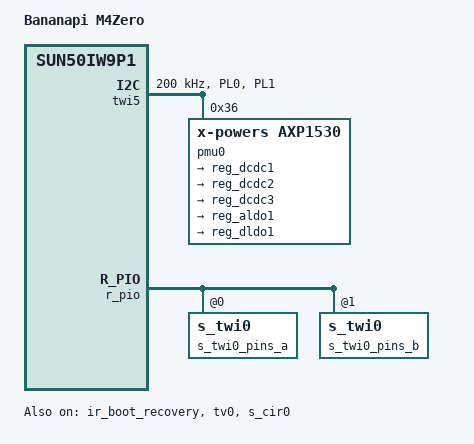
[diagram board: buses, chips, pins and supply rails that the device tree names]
/*
 * Allwinner Technology CO., Ltd. sun8iw19p1 soc board.
 *
 * soc board support.
 */

&power_sply {
	dcdc1_vol = <1000960>;
	dcdc2_vol = <1001150>;
	aldo1_vol = <1001800>;
	dldo1_vol = <1003300>;
};

/{
	model = "Bananapi M4Zero";
	compatible = "allwinner,h616", "arm,sun50iw9p1";

	box_start_os0 {
		compatible = "allwinner,box_start_os";
		start_type = <0x1>;
		irkey_used = <0x1>;
		pmukey_used = <0x0>;
		pmukey_num = <0x0>;
		led_power = <0x0>;
		led_state = <0x0>;
		pinctrl-0 = <&standby_red>;
		pinctrl-1 = <&standby_gpiokey>;
	};

	gpu: gpu@0x01800000 {
			gpu_idle = <1>;
			dvfs_status = <1>;
			operating-points = <
				 /* KHz   uV */
				600000 950000
				576000 950000
				540000 950000
				504000 950000
				456000 950000
				420000 950000
				384000 950000
				360000 950000
				336000 950000
				306000 950000
			 >;
	};
};

&boot_init_gpio {
	device_type = "boot_init_gpio";
	logical_start = <40960>;
	/* 0x2--C 0xC--12 0x1--open*/
	gpio0 = <0x54 0x2 0xc 0x1 0xffffffff 0xffffffff 0x0>;
};

&target {
    boot_clock = <1416>;
    advert_enable = <0>;
};

&aliases {
	disp = &disp;
	hdmi = &hdmi;
	tv0=&tv0;
	pmu0 = &pmu0;
	ir0 = &s_cir0;
	twi5 = &twi5;
};

&twi5 {
	no_suspend = <1>;
	clock-frequency = <200000>;
	pinctrl-0 = <&s_twi0_pins_a>;
	pinctrl-1 = <&s_twi0_pins_b>;
	device_type = "twi5";
	status = "okay";

	pmu0: pmu{
		compatible = "x-powers,axp1530";
		reg = <0x36>;
/*		interrupt-parent = <&nmi_intc>;
		interrupts = <0 IRQ_TYPE_LEVEL_LOW>;
		interrupt-controller;
		#interrupt-cells = <1>;*/

		wakeup-source;

		regulators{
			reg_dcdc1: dcdc1 {
				regulator-name = "axp1530-dcdc1";
			};

			reg_dcdc2: dcdc2 {
				regulator-name = "axp1530-dcdc2";
			};

			reg_dcdc3: dcdc3 {
				regulator-name = "axp1530-dcdc3";
			};

			reg_aldo1: ldo1 {
				regulator-name = "axp1530-aldo1";
			};

			reg_dldo1: ldo2 {
				regulator-name = "axp1530-dldo1";
			};
		};
	};
};

&r_pio{

	s_twi0_pins_a: s_twi0@0 {
		allwinner,pins = "PL0", "PL1";
		allwinner,pname = "s_twi0_scl", "s_twi0_sda";
		allwinner,function = "s_twi0";
		allwinner,muxsel = <3>;
		allwinner,drive = <1>;
		allwinner,pull = <1>;
	};

	s_twi0_pins_b: s_twi0@1 {
		allwinner,pins = "PL0", "PL1";
		allwinner,function = "io_disabled";
		allwinner,muxsel = <7>;
		allwinner,drive = <1>;
		allwinner,pull = <0>;
	};
};


&pio{
	s_cir0_pins_a: s_cir0@0 {
		allwinner,pins = "PH10";
		allwinner,function = "ir";
		allwinner,muxsel = <3>;
		allwinner,drive = <2>;
		allwinner,pull = <1>;
	};
	s_cir0_pins_b: s_cir0@1 {
		allwinner,pins = "PH10";
		allwinner,function = "gpio_in";
	};
	spi1_pins_a: spi1@0 {
		allwinner,pins = "PH6", "PH7", "PH8";
		allwinner,pname = "spi1_sclk", "spi1_mosi", "spi1_miso";
		allwinner,function = "spi1";
	};

	spi1_pins_b: spi1@1 {
		allwinner,pins = "PH5", "PH9";
		allwinner,pname = "spi1_cs0", "spi1_cs1";
		allwinner,function = "spi1";
	};

	spi1_pins_c: spi1@2 {
		allwinner,pins = "PH5", "PH6", "PH7", "PH8", "PH9";
		allwinner,function = "io_disabled";
	};

	twi0_pins_a: twi0@0 {
		allwinner,pins = "PA0", "PA1";
		allwinner,pname = "twi0_scl", "twi0_sda";
		allwinner,function = "twi0";
		allwinner,muxsel = <4>;
		allwinner,drive = <1>;
		allwinner,pull = <0>;
	};

	twi0_pins_b: twi0@1 {
		allwinner,pins = "PA0", "PA1";
		allwinner,function = "io_disabled";
		allwinner,muxsel = <7>;
		allwinner,drive = <1>;
		allwinner,pull = <0>;
	};

	twi1_pins_a: twi1@0 {
		allwinner,pins = "PA2", "PA3";
		allwinner,pname = "twi1_scl", "twi1_sda";
		allwinner,function = "twi1";
		allwinner,muxsel = <4>;
		allwinner,drive = <1>;
		allwinner,pull = <0>;
	};

	twi1_pins_b: twi1@1 {
		allwinner,pins = "PA2", "PA3";
		allwinner,function = "io_disabled";
		allwinner,muxsel = <7>;
		allwinner,drive = <1>;
		allwinner,pull = <0>;
	};

	twi2_pins_a: twi2@0 {
		allwinner,pins = "PE20", "PE21";
		allwinner,pname = "twi2_scl", "twi2_sda";
		allwinner,function = "twi2";
		allwinner,muxsel = <5>;
		allwinner,drive = <1>;
		allwinner,pull = <0>;
	};

	twi2_pins_b: twi2@1 {
		allwinner,pins = "PE20", "PE21";
		allwinner,function = "io_disabled";
		allwinner,muxsel = <7>;
		allwinner,drive = <1>;
		allwinner,pull = <0>;
	};

	twi3_pins_a: twi3@0 {
		allwinner,pins = "PA10", "PA11";
		allwinner,pname = "twi3_scl", "twi3_sda";
		allwinner,function = "twi3";
		allwinner,muxsel = <2>;
		allwinner,drive = <1>;
		allwinner,pull = <1>;
	};

	twi3_pins_b: twi3@1 {
		allwinner,pins = "PA10", "PA11";
		allwinner,function = "io_disabled";
		allwinner,muxsel = <7>;
		allwinner,drive = <1>;
		allwinner,pull = <0>;
	};

	twi4_pins_a: twi4@0 {
		allwinner,pins = "PG15", "PG16";
		allwinner,pname = "twi4_scl", "twi4_sda";
		allwinner,function = "twi4";
		allwinner,muxsel = <5>;
		allwinner,drive = <1>;
		allwinner,pull = <0>;
	};

	twi4_pins_b: twi4@1 {
		allwinner,pins = "PG15", "PG16";
		allwinner,function = "io_disabled";
		allwinner,muxsel = <7>;
		allwinner,drive = <1>;
		allwinner,pull = <0>;
	};
	sdc0_pins_a: sdc0@0 {
		allwinner,pins = "PF0", "PF1", "PF2",
				 "PF3", "PF4", "PF5";
		allwinner,function = "sdc0";
		allwinner,muxsel = <2>;
		allwinner,drive = <3>;
		allwinner,pull = <1>;
	};
	sdc1_pins_a: sdc1@0 {
		allwinner,pins = "PG0", "PG1", "PG2",
				 "PG3", "PG4", "PG5";
		allwinner,function = "sdc1";
		allwinner,muxsel = <2>;
		allwinner,drive = <3>;
		allwinner,pull = <1>;
	};
	sdc2_pins_a: sdc2@0 {
		allwinner,pins = "PC1", "PC5", "PC6",
				 "PC8", "PC9", "PC10", "PC11",
				 "PC13", "PC14", "PC15", "PC16";
		allwinner,function = "sdc2";
		allwinner,muxsel = <3>;
		allwinner,drive = <2>;
		allwinner,pull = <1>;
	};
	sdc2_pins_b: sdc2@1 {
		allwinner,pins = "PC0", "PC1", "PC5", "PC6",
				 "PC8", "PC9", "PC10", "PC11",
				 "PC13", "PC14", "PC15", "PC16";
		allwinner,function = "io_disabled";
		allwinner,muxsel = <7>;
		allwinner,drive = <1>;
		allwinner,pull = <1>;
	};
	sdc2_pins_c: sdc2@2 {
		allwinner,pins = "PC0";
		allwinner,function = "sdc2";
		allwinner,muxsel = <3>;
		allwinner,drive = <2>;
		allwinner,pull = <2>;
	};

	nand0_pins_a:nand0@0{
		allwinner,pins = "PC0", "PC1", "PC2", "PC5",
				 "PC8", "PC9", "PC10", "PC11",
				 "PC12", "PC13", "PC14", "PC15",
				 "PC16";
		allwinner,pname= "nand0_we", "nand0_ale","nand0_cle", "nand0_nre",
				 "nand0_d0", "nand0_d1", "nand0_d2", "nand0_d3",
				 "nand0_d4", "nand0_d5", "nand0_d6", "nand0_d7",
				 "nand0_ndqs";
		allwinner,function = "nand0";
		allwinner,muxsel = <2>;
		allwinner,drive = <3>;
		allwinner,pull = <0>;
	};

	nand0_pins_b:nand0@1 {
		allwinner,pins = "PC4", "PC6", "PC3", "PC7";
		allwinner,pname= "nand0_ce0", "nand0_rb0", "nand0_ce1", "nand0_rb1";
		allwinner,function = "nand0";
		allwinner,muxsel = <2>;
		allwinner,drive = <3>;
		allwinner,pull = <1>;	/* only RB&CE should be pulled up */
	};

	nand0_pins_c:nand0@2 {
		allwinner,pins = "PC0", "PC1", "PC2", "PC3",
				 "PC4", "PC5", "PC6", "PC7",
				 "PC8", "PC9", "PC10", "PC11",
				 "PC12", "PC13", "PC14", "PC15",
				 "PC16";
		allwinner,function = "io_disabled";
		allwinner,muxsel = <7>;
		allwinner,drive = <1>;
		allwinner,pull = <0>;
	};


	pwm5_pin_a: pwm5@0 {
		allwinner,pins = "PA12";
		allwinner,function = "pwm5";
		allwinner,muxsel = <0x02>;
		allwinner,drive = <0xffffffff>;
		allwinner,pull = <0>;
		allwinner,data = <0xffffffff>;
	};

	pwm5_pin_b: pwm5@1 {
		allwinner,pins = "PA12";
		allwinner,function = "io_disabled";
		allwinner,muxsel = <0x07>;
		allwinner,drive = <0xffffffff>;
		allwinner,pull = <0>;
		allwinner,data = <0xffffffff>;
	};

	standby_red: standby@0 {
		allwinner,pins = "PC12";
		allwinner,function = "gpio_out";
		allwinner,muxsel = <1>;
		allwinner,data = <0>;
		allwinner,drive = <2>;
		allwinner,pull = <2>;
	};

	standby_gpiokey: standby@1 {
		allwinner,pins = "PC7";
		allwinner,function = "gpio_in";
		allwinner,muxsel = <0>;
		allwinner,data = <0>;
		allwinner,drive = <0>;
		allwinner,pull = <1>;
	};

};


&spi0{
	status = "disabled";
	/*if use spi-nand ,pls open spi status and spi-nand status
	  if use spi-nor, pls open spi status and close spi-nand status*/
	spi-nand {
		compatible = "spi-nand";
		spi-max-frequency = <0x5f5e100>;
		reg = <0x0>;
		spi-rx-bus-width = <0x04>;
		spi-tx-bus-width = <0x04>;
		status = "disabled";
	};
	spi_board0 {
		device_type = "spi_board0";
		compatible = "m25p80";
		spi-max-frequency = <0x5f5e100>;
		m25p,fast-read = <1>;
		reg = <0x0>;
		spi-rx-bus-width = <0x1>;
		spi-tx-bus-width = <0x1>;
		status = "disabled";
	};
};

&card_boot {
	/* PC12: 0x2--C 0xC--12 0x0 */
	sprite_gpio0 = <0x54 0x2 0xc 0x1 0xffffffff 0xffffffff 0x0>;
};

&ir_boot_recovery {
	device_type = "ir_boot_recovery";
	status = "okay";
	ir_work_mode = <0x1>;
	ir_press_times = <0x2>;
	ir_detect_time = <0x1>;
	ir_key_no_duplicate = <0x0>;
	ir_recovery_key_code0 = <0x11>;
	ir_addr_code0 = <0xfe01>;
	ir_recovery_key_code1 = <0x19>;
	ir_addr_code1 = <0xfe01>;
	ir_recovery_key_code2 = <0x4c>;
	ir_addr_code2 = <0xfe01>;
	ir_recovery_key_code3 = <0x0>;
	ir_addr_code3 = <0xfe01>;
};

&key_boot_recovery {
	device_type = "key_boot_recovery";
	recovery_key_used = <0x1>;
	press_mode_enable = <0x0>;
	key_work_mode = <0x0>;
	short_press_mode = <0x0>;
	long_press_mode = <0x1>;
	key_press_time = <0x7d0>;
	/* PG0: 0x6--G 0x0--0 0x1 */
	recovery_key = <0x54 0x7 0x9 0x0 0xffffffff 0xffffffff 0xffffffff>;
};

&platform {
	eraseflag = <1>;
	next_work = <3>;
	debug_mode = <1>;
};

&card0_boot_para {  /* Avoid dtc compiling warnings. @TODO: Developer should modify this to the actual value */
	/* reg = <0x0 0x2 0x0 0x0>;  [> Avoid dtc compiling warnings. @TODO: Developer should modify this to the actual value <] */
	device_type = "card0_boot_para";
	card_ctrl = <0x0>;
	card_high_speed = <0x1>;
	card_line = <0x4>;
	pinctrl-0 = <&sdc0_pins_a>;
};

&card2_boot_para {  /* Avoid dtc compiling warnings. @TODO: Developer should modify this to the actual value */
	/* reg = <0x0 0x3 0x0 0x0>;  [> Avoid dtc compiling warnings. @TODO: Developer should modify this to the actual value <] */
	device_type = "card2_boot_para";
	card_ctrl = <0x2>;
	card_high_speed = <0x1>;
	card_line = <0x8>;
	pinctrl-0 = <&sdc2_pins_a &sdc2_pins_c>;
	sdc_ex_dly_used = <0x2>;
	sdc_io_1v8 = <0x1>;
};

&nand0 {
	compatible = "allwinner,sun50iw9-nand";
	device_type = "nand0";
	//reg = <0x0 0x04011000 0x0 0x1000>;/* nand0 */
	pinctrl-names = "default", "sleep";
	pinctrl-0 = <&nand0_pins_a &nand0_pins_b>;
	pinctrl-1 = <&nand0_pins_c>;
	nand0_regulator1 = "vcc-nand";
	nand0_regulator2 = "none";
	nand0_cache_level = <0x55aaaa55>;
	nand0_flush_cache_num = <0x55aaaa55>;
	nand0_capacity_level = <0x55aaaa55>;
	nand0_id_number_ctl = <0x55aaaa55>;
	nand0_print_level = <0x55aaaa55>;
	nand0_p0 = <0x55aaaa55>;
	nand0_p1 = <0x55aaaa55>;
	nand0_p2 = <0x55aaaa55>;
	nand0_p3 = <0x55aaaa55>;
	chip_code = "sun50iw9";
	status = "disabled";
};

&tv0 {
	interface = <1>;
	dac_type0 = <0>;
	dac_src0 = <0>;

	status = "okay";
};

&disp {
	disp_init_enable = <1>;
	disp_mode = <0>;

	screen0_output_type = <3>;
	screen0_output_mode = <10>;
	screen0_output_format = <0>;
	screen0_output_bits = <0>;
	screen0_output_eotf = <4>;
	screen0_output_cs = <257>;
	screen0_output_dvi_hdmi = <2>;
	screen0_output_range = <2>;
	screen0_output_scan = <0>;
	screen0_output_aspect_ratio = <8>;

	screen1_output_type = <2>;
	screen1_output_mode = <11>;
	screen1_output_format = <1>;
	screen1_output_bits = <0>;
	screen1_output_eotf = <4>;
	screen1_output_cs = <260>;
	screen1_output_dvi_hdmi = <0>;
	screen1_output_range = <2>;
	screen1_output_scan = <0>;
	screen1_output_aspect_ratio = <8>;
	dev0_output_type = <4>;
	dev0_output_mode = <10>;
	dev0_screen_id = <0>;
	dev0_do_hpd = <1>;

	dev1_output_type = <2>;
	dev1_output_mode = <11>;
	dev1_screen_id = <1>;
	dev1_do_hpd = <1>;

	dev2_output_type = <0>;
	def_output_dev = <0>;
	hdmi_mode_check = <1>;

	fb0_format = <0>;
	fb0_width = <1280>;
	fb0_height = <720>;

	fb1_format = <0>;
	fb1_width = <0>;
	fb1_height = <0>;

	chn_cfg_mode = <1>;

	disp_para_zone = <1>;
};

&hdmi {
	hdmi_used = <1>;
	hdmi_power_cnt = <2>;
	hdmi_power0 = "vcc-hdmi";
	hdmi_power1 = "vdd-hdmi";
	hdmi_hdcp_enable = <1>;
	hdmi_hdcp22_enable = <1>;
	hdmi_cts_compatibility = <0>;
	hdmi_cec_support = <1>;
	hdmi_cec_super_standby = <0>;
	hdmi_skip_bootedid = <1>;

	ddc_en_io_ctrl = <0>;
	power_io_ctrl = <0>;
};

&s_cir0 {
	pinctrl-names = "default","sleep";
	pinctrl-0 = <&s_cir0_pins_a>;
	pinctrl-1 = <&s_cir0_pins_b>;
	s_cir0_used = <1>;
	ir_power_key_code0 = <0x40>;
	ir_addr_code0 = <0xfe01>;
	ir_power_key_code1 = <0x1a>;
	ir_addr_code1 = <0xfb04>;
	ir_power_key_code2 = <0xf2>;
	ir_addr_code2 = <0x2992>;
	ir_power_key_code3 = <0x57>;
	ir_addr_code3 = <0x9f00>;
	ir_power_key_code4 = <0xdc>;
	ir_addr_code4 = <0x4cb3>;
	ir_power_key_code5 = <0x18>;
	ir_addr_code5 = <0xff00>;
	ir_power_key_code6 = <0xdc>;
	ir_addr_code6 = <0xdd22>;
	ir_power_key_code7 = <0x0d>;
	ir_addr_code7 = <0xbc00>;
	ir_power_key_code8 = <0x4d>;
	ir_addr_code8 = <0x4040>;
	wakeup-source;
	status = "okay";
};
